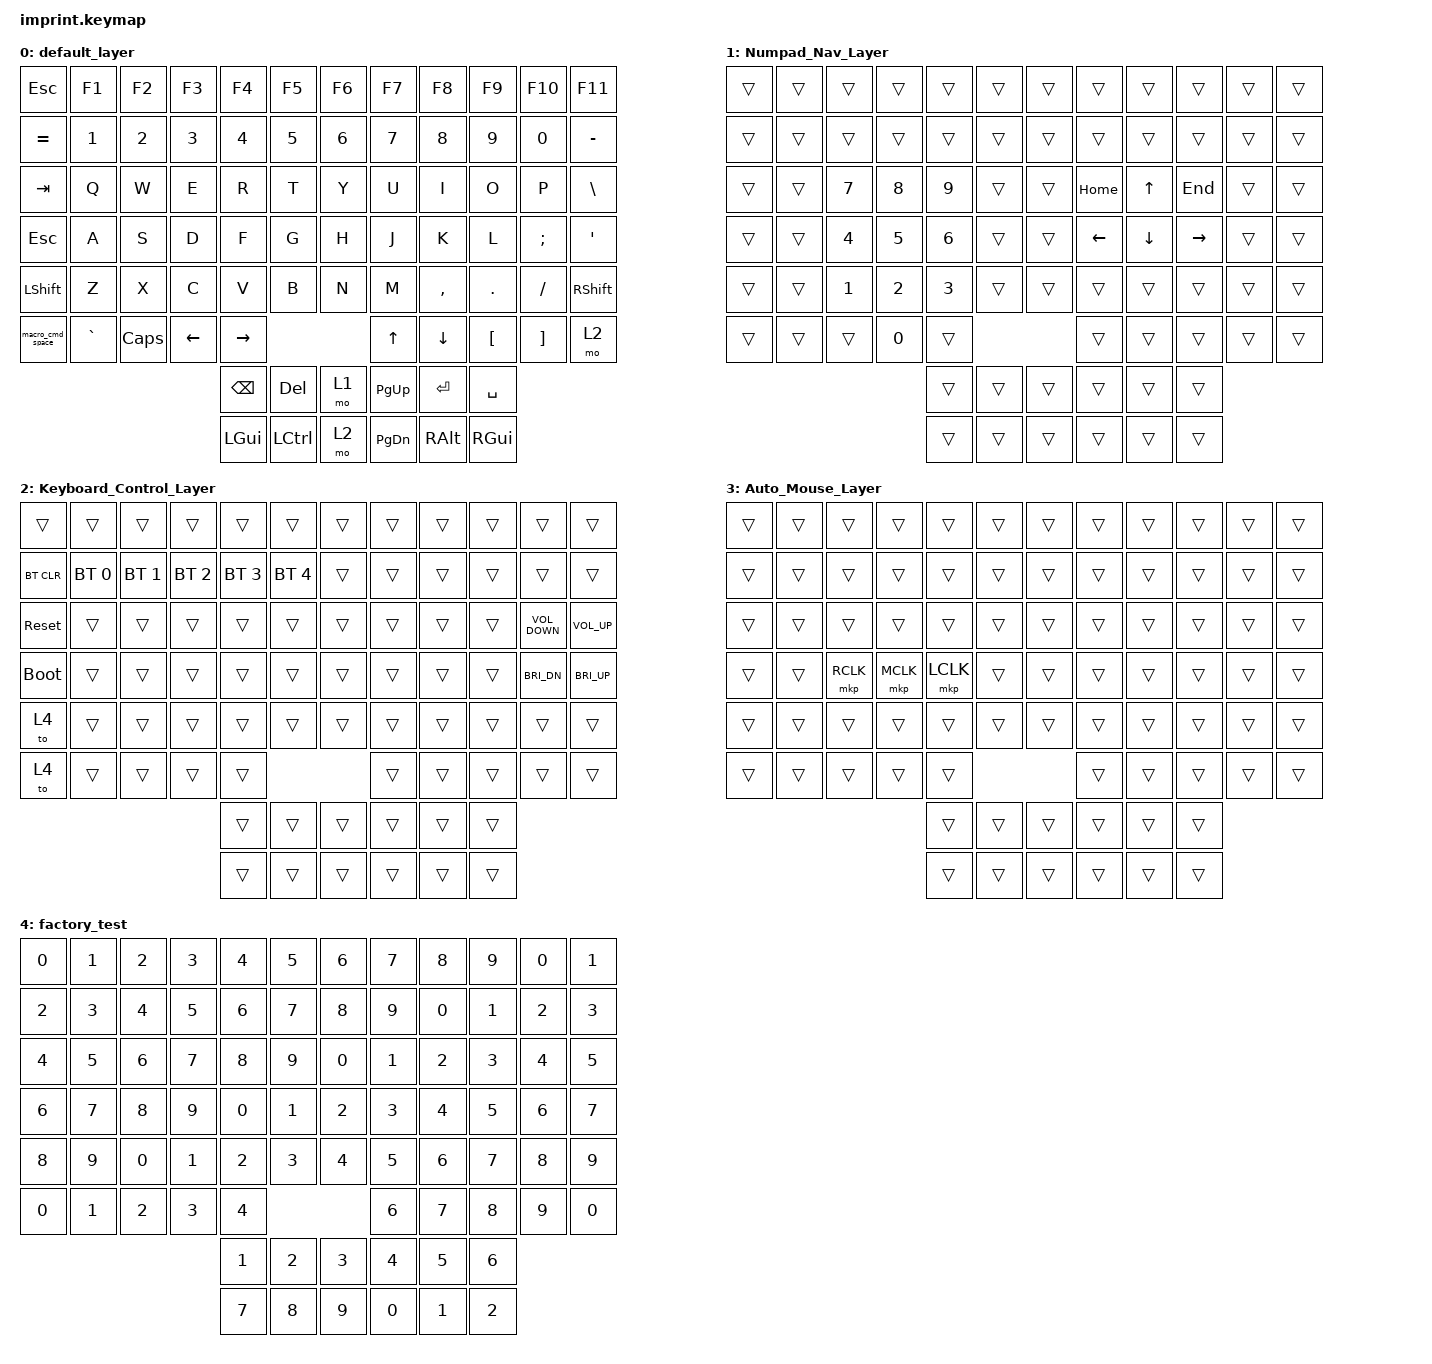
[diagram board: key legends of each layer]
#include <input/processors.dtsi>
#include <dt-bindings/zmk/input_transform.h>
#include <behaviors.dtsi>
#include <dt-bindings/zmk/bt.h>
#include <dt-bindings/zmk/keys.h>
#include <dt-bindings/zmk/pointing.h>

/ {
    chosen { zmk,matrix-transform = &imprint_function_row_full_bottom_row; };

    macros {
        macro_cmd_space: macro_cmd_space {
            compatible = "zmk,behavior-macro";
            #binding-cells = <0>;
            bindings = <&kp RG(SPACE)>;
            label = "MACRO_CMD_SPACE";
        };
    };

    keymap {
        compatible = "zmk,keymap";

        default_layer {
            bindings = <
&kp ESC           &kp F1     &kp F2    &kp F3          &kp F4         &kp F5              &kp F6     &kp F7    &kp F8     &kp F9            &kp F10            &kp F11
&kp EQUAL         &kp N1     &kp N2    &kp N3          &kp N4         &kp N5              &kp N6     &kp N7    &kp N8     &kp N9            &kp N0             &kp MINUS
&kp TAB           &kp Q      &kp W     &kp E           &kp R          &kp T               &kp Y      &kp U     &kp I      &kp O             &kp P              &kp BSLH
&kp ESC           &kp A      &kp S     &kp D           &kp F          &kp G               &kp H      &kp J     &kp K      &kp L             &kp SEMI           &kp SQT
&kp LSHFT         &kp Z      &kp X     &kp C           &kp V          &kp B               &kp N      &kp M     &kp COMMA  &kp DOT           &kp FSLH           &kp RSHFT
&macro_cmd_space  &kp GRAVE  &kp CAPS  &kp LEFT_ARROW  &kp RIGHT                                     &kp UP    &kp DOWN   &kp LEFT_BRACKET  &kp RIGHT_BRACKET  &mo 2
                                                       &kp BACKSPACE  &kp DEL    &mo 1    &kp PG_UP  &kp RET   &kp SPACE
                                                       &kp LGUI       &kp LCTRL  &mo 2    &kp PG_DN  &kp RALT  &kp RGUI
            >;
        };

        Numpad_Nav_Layer {
            bindings = <
&trans  &trans  &trans  &trans  &trans  &trans            &trans  &trans    &trans    &trans     &trans  &trans
&trans  &trans  &trans  &trans  &trans  &trans            &trans  &trans    &trans    &trans     &trans  &trans
&trans  &trans  &kp N7  &kp N8  &kp N9  &trans            &trans  &kp HOME  &kp UP    &kp END    &trans  &trans
&trans  &trans  &kp N4  &kp N5  &kp N6  &trans            &trans  &kp LEFT  &kp DOWN  &kp RIGHT  &trans  &trans
&trans  &trans  &kp N1  &kp N2  &kp N3  &trans            &trans  &trans    &trans    &trans     &trans  &trans
&trans  &trans  &trans  &kp N0  &trans                            &trans    &trans    &trans     &trans  &trans
                                &trans  &trans  &trans    &trans  &trans    &trans
                                &trans  &trans  &trans    &trans  &trans    &trans
            >;
        };

        Keyboard_Control_Layer {
            bindings = <
&trans       &trans        &trans        &trans        &trans        &trans                  &trans  &trans  &trans  &trans  &trans             &trans
&bt BT_CLR   &bt BT_SEL 0  &bt BT_SEL 1  &bt BT_SEL 2  &bt BT_SEL 3  &bt BT_SEL 4            &trans  &trans  &trans  &trans  &trans             &trans
&sys_reset   &trans        &trans        &trans        &trans        &trans                  &trans  &trans  &trans  &trans  &kp C_VOLUME_DOWN  &kp C_VOLUME_UP
&bootloader  &trans        &trans        &trans        &trans        &trans                  &trans  &trans  &trans  &trans  &kp C_BRI_DN       &kp C_BRI_UP
&to 4        &trans        &trans        &trans        &trans        &trans                  &trans  &trans  &trans  &trans  &trans             &trans
&to 4        &trans        &trans        &trans        &trans                                        &trans  &trans  &trans  &trans             &trans
                                                       &trans        &trans        &trans    &trans  &trans  &trans
                                                       &trans        &trans        &trans    &trans  &trans  &trans
            >;
        };

        Auto_Mouse_Layer {
            bindings = <
&trans  &trans  &trans     &trans     &trans     &trans            &trans  &trans  &trans  &trans  &trans  &trans
&trans  &trans  &trans     &trans     &trans     &trans            &trans  &trans  &trans  &trans  &trans  &trans
&trans  &trans  &trans     &trans     &trans     &trans            &trans  &trans  &trans  &trans  &trans  &trans
&trans  &trans  &mkp RCLK  &mkp MCLK  &mkp LCLK  &trans            &trans  &trans  &trans  &trans  &trans  &trans
&trans  &trans  &trans     &trans     &trans     &trans            &trans  &trans  &trans  &trans  &trans  &trans
&trans  &trans  &trans     &trans     &trans                               &trans  &trans  &trans  &trans  &trans
                                      &trans     &trans  &trans    &trans  &trans  &trans
                                      &trans     &trans  &trans    &trans  &trans  &trans
            >;
        };

        factory_test {
            bindings = <
&kp N0  &kp N1  &kp N2  &kp N3  &kp N4  &kp N5            &kp N6  &kp N7  &kp N8  &kp N9  &kp N0  &kp N1
&kp N2  &kp N3  &kp N4  &kp N5  &kp N6  &kp N7            &kp N8  &kp N9  &kp N0  &kp N1  &kp N2  &kp N3
&kp N4  &kp N5  &kp N6  &kp N7  &kp N8  &kp N9            &kp N0  &kp N1  &kp N2  &kp N3  &kp N4  &kp N5
&kp N6  &kp N7  &kp N8  &kp N9  &kp N0  &kp N1            &kp N2  &kp N3  &kp N4  &kp N5  &kp N6  &kp N7
&kp N8  &kp N9  &kp N0  &kp N1  &kp N2  &kp N3            &kp N4  &kp N5  &kp N6  &kp N7  &kp N8  &kp N9
&kp N0  &kp N1  &kp N2  &kp N3  &kp N4                            &kp N6  &kp N7  &kp N8  &kp N9  &kp N0
                                &kp N1  &kp N2  &kp N3    &kp N4  &kp N5  &kp N6
                                &kp N7  &kp N8  &kp N9    &kp N0  &kp N1  &kp N2
            >;
        };
    };
};

//right hand trackball configuration

&trackball_peripheral_listener {
    input-processors =
        // this gets it to the default installation orientation,,,,
        // <&zip_xy_transform INPUT_TRANSFORM_XY_SWAP>;,,
        // activate layer 3 within 500ms of the trackball moving,,
        <&zip_temp_layer 3 500>;
};

//left hand trackball configuration

&trackball_central_listener {
    input-processors =
        // this gets it to the default installation orientation,,,,
        // <&zip_xy_transform INPUT_TRANSFORM_XY_SWAP>,,
        // multiply sensitivity by 1, divide by 5 (make it slower for scrolling),,,,
        <&zip_xy_scaler 1 5>,
        // make this trackball output scrolling events by default instead of cursor movement,,,,
        <&zip_xy_to_scroll_mapper>,
        <&zip_scroll_scaler 1 8>;
        // invert vertical scrolling so that the view moves in the same direction as the top of the trackball.,,,,
        // <&zip_scroll_transform INPUT_TRANSFORM_Y_INVERT>;
};
